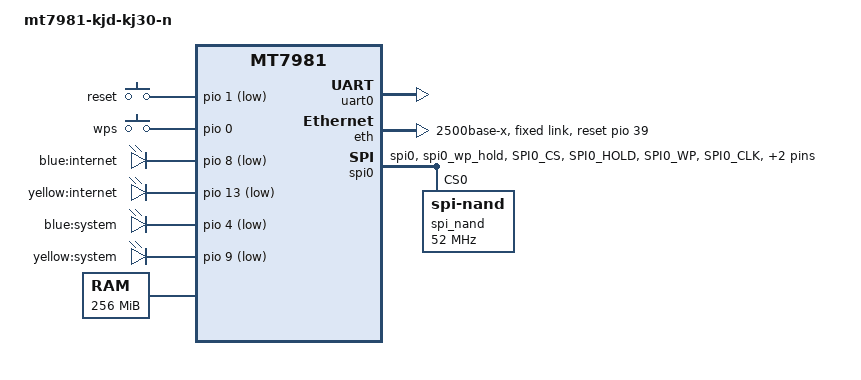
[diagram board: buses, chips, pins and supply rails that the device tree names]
// SPDX-License-Identifier: GPL-2.0
/*
 * KJD KJ30-N (MT7981 + SPI-NAND, 128MB / 256MB DDR)
 *
 * U-Boot device tree for bl-mt798x-dhcpd.
 *
 * 多分区启动 (/mtd-layout)：
 *   default     - ImmortalWrt/OpenWrt 114M ubi（KJ30-N 现行布局，保持为默认，刷完不动就能起）
 *   stock-64m   - 原厂 64M 布局：与 KJ30-N 自带 U-Boot DTB、以及 iKuai AX320C-NA/AX323W-NA
 *                 固件 DTB 完全一致（ubi 都落在 0x580000、都是 64M）
 *
 * 切换方法（U-Boot 命令行）：
 *   setenv mtd_layout_label stock-64m ; saveenv ; mtd erase ubi ; reset
 * 注意：改布局不会重建 UBI，切完必须 mtd erase ubi 再刷固件。
 * 可用 `showlayout` 命令查看全部布局，或进 failsafe 网页看当前布局。
 *
 * 命名遵循上游 bl-mt798x-dhcpd 的惯例：layout@0 必须叫 "default"，
 * 其余用 "<固件>-<容量>"（如 immortalwrt-112m / stock-64m）。
 * 选择逻辑见 board/mediatek/common/mtd_layout.c：
 *   读环境变量 mtd_layout（新）→ 回退 mtd_layout_label（旧）→ 都没有则 "default"
 */

/dts-v1/;
#include "mt7981.dtsi"
#include <dt-bindings/gpio/gpio.h>

/ {
	#address-cells = <1>;
	#size-cells = <1>;
	model = "mt7981-kjd-kj30-n";
	compatible = "mediatek,mt7981", "mediatek,mt7981-rfb";

	chosen {
		stdout-path = &uart0;
		tick-timer = &timer0;
	};

	config {
		bootcmd = "mtkboardboot";
		blink_led = "blue:internet";
		system_led = "yellow:system";
	};

	mtd-layout {
		layout@0 {
			label = "default";
			// ImmortalWrt / OpenWrt 114M ubi —— KJ30-N 现行布局，刷完不用动就能跑 OpenWrt
			mtdids = "nmbm0=nmbm0";
			mtdparts = "nmbm0:1024k(bl2),512k(u-boot-env),2048k(factory),2048k(fip),116736k(ubi)";
			boot_part = "ubi";
			factory_part = "ubi";
			sysupgrade_kernel_ubipart = "ubi";
			sysupgrade_rootfs_ubipart = "ubi";
		};

		layout@1 {
			label = "stock-64m";
			// 原厂 64M 布局 —— 与 KJ30-N 自带 U-Boot DTB 的分区表逐字节一致：
			//   BL2 0x0 1M / u-boot-env 0x100000 512K / Factory 0x180000 2M /
			//   FIP 0x380000 2M / ubi 0x580000 64M
			// iKuai 8.1（AX320C-NA / AX323W-NA）固件 DTB 也是 ubi 0x580000 64M，
			// 只是把 FIP 缩成 1.75M 并多切了一个 256K 的 opt —— ubi 的起点和长度相同，
			// 所以跑 iKuai 系固件就选这套。
			cmdline = "console=ttyS0,115200n1 loglevel=8 earlycon=uart8250,mmio32,0x11002000 clk_ignore_unused";
			mtdids = "nmbm0=nmbm0";
			mtdparts = "nmbm0:1024k(bl2),512k(u-boot-env),2048k(Factory),2048k(fip),64M(ubi)";
			boot_part = "ubi";
			factory_part = "ubi";
			sysupgrade_kernel_ubipart = "ubi";
			sysupgrade_rootfs_ubipart = "ubi";
		};
	};

	gpio-keys {
		compatible = "gpio-keys";

		/*
		 * 必须与 KJ30-N 设备自带 DTB 一致（反编译来源：kj30-n.dts）：
		 *   wps     -> pio 0, flags 0x00 = 高有效（按下为高，常态低）
		 *   factory -> pio 1, flags 0x01 = 低有效（按下为低，常态高）
		 * 注意：这里的极性写反会直接导致 U-Boot 把"常态"当成"按住"，
		 * 每次冷启动都进 failsafe WEBUI（log 表现：wps is pressed for: N second(s)）。
		 * 子节点 name 用 reset/wps，因为 U-Boot 的 glbtn 按这两个 label 找按键。
		 */
		button-reset {
			label = "reset";
			linux,code = <KEY_RESTART>;
			gpios = <&pio 1 GPIO_ACTIVE_LOW>;
		};

		button-wps {
			label = "wps";
			linux,code = <KEY_WPS_BUTTON>;
			gpios = <&pio 0 GPIO_ACTIVE_HIGH>;
		};
	};

	leds {
		compatible = "gpio-leds";

		led-0 {
			label = "blue:internet";
			gpios = <&pio 8 GPIO_ACTIVE_LOW>;
		};

		led-1 {
			label = "yellow:internet";
			gpios = <&pio 13 GPIO_ACTIVE_LOW>;
		};

		led-2 {
			label = "blue:system";
			gpios = <&pio 4 GPIO_ACTIVE_LOW>;
		};

		led-3 {
			label = "yellow:system";
			gpios = <&pio 9 GPIO_ACTIVE_LOW>;
			default-state = "on";
			linux,default-trigger = "default-on";
		};
	};

	memory@40000000 {
		device_type = "memory";
		reg = <0x40000000 0x10000000>;
	};

	bl2_verify {
		bl2_compatible = "spim-nand";
	};
};

&uart0 {
	status = "okay";
};

&eth {
	status = "okay";
	mediatek,gmac-id = <0>;
	phy-mode = "2500base-x";
	mediatek,switch = "auto";
	reset-gpios = <&pio 39 GPIO_ACTIVE_HIGH>;

	fixed-link {
		speed = <2500>;
		full-duplex;
	};
};

&pio {
	spi_flash_pins: spi0-pins-func-1 {
		mux {
			function = "flash";
			groups = "spi0", "spi0_wp_hold";
		};

		conf-pu {
			pins = "SPI0_CS", "SPI0_HOLD", "SPI0_WP";
			drive-strength = <MTK_DRIVE_4mA>;
			bias-pull-up = <MTK_PUPD_SET_R1R0_11>;
		};

		conf-pd {
			pins = "SPI0_CLK", "SPI0_MOSI", "SPI0_MISO";
			drive-strength = <MTK_DRIVE_4mA>;
			bias-pull-down = <MTK_PUPD_SET_R1R0_11>;
		};
	};
};

&spi0 {
	#address-cells = <1>;
	#size-cells = <0>;
	pinctrl-names = "default";
	pinctrl-0 = <&spi_flash_pins>;
	status = "okay";
	must_tx;
	enhance_timing;
	dma_ext;
	ipm_design;
	support_quad;
	tick_dly = <2>;
	sample_sel = <0>;

	spi_nand@0 {
		compatible = "spi-nand";
		reg = <0>;
		spi-max-frequency = <52000000>;
	};
};

&watchdog {
	status = "disabled";
};
